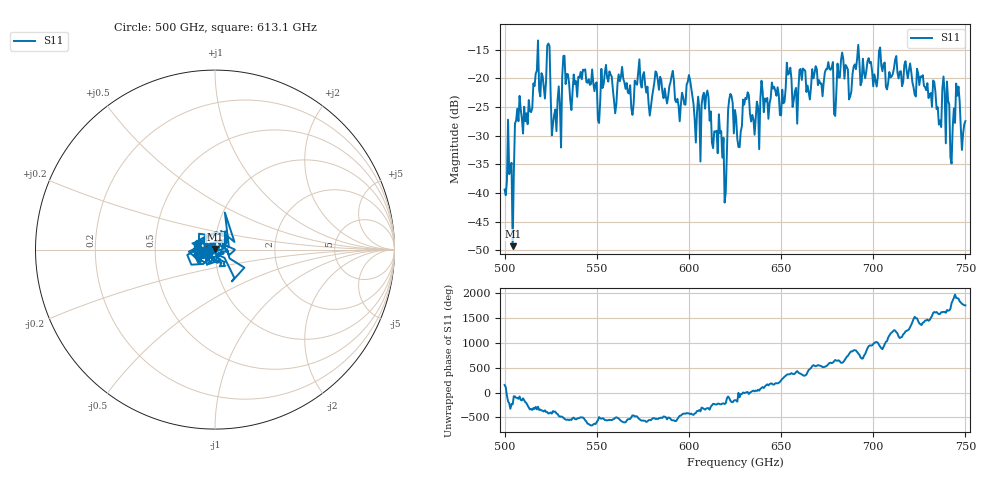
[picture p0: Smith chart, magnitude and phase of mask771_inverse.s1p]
!Created with skrf (http://scikit-rf.org).
# GHz S MA R 50.0
!freq magS11 angS11
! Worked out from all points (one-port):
!   401 points, 500 GHz to 750 GHz, reference 50 ohm
!   lowest |S11| = -49.3 dB at 504.4 GHz (marker M1), VSWR 1.01, Z = 49.8 + j0.288 ohm
!   |S11| at or under -10 dB: start of sweep to end of sweep
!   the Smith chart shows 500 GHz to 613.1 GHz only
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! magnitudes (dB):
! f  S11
! 500 GHz  -39.4
! 504.4 GHz  -49.3
! 506.9 GHz  -25.3
! 513.8 GHz  -25.8
! 516.9 GHz  -19.2
! 523.8 GHz  -13.9
! 526.9 GHz  -26.4
! 531.2 GHz  -19.8
! 562.5 GHz  -20.5
! 593.8 GHz  -23.6
! 600 GHz  -19.4
! 605 GHz  -23.2
! 609.4 GHz  -22.9
! 619.4 GHz  -41.7
! 622.5 GHz  -22.7
! 625 GHz  -25.5
! 656.2 GHz  -25.0
! 676.9 GHz  -18.5
! 680 GHz  -22.3
! 683.8 GHz  -16.6
! 687.5 GHz  -23.2
! 691.2 GHz  -16.6
! 718.8 GHz  -20.0
! 735.6 GHz  -28.1
! 738.8 GHz  -22.5
! 743.1 GHz  -28.5
! 745.6 GHz  -23.1
! 750 GHz  -27.5
